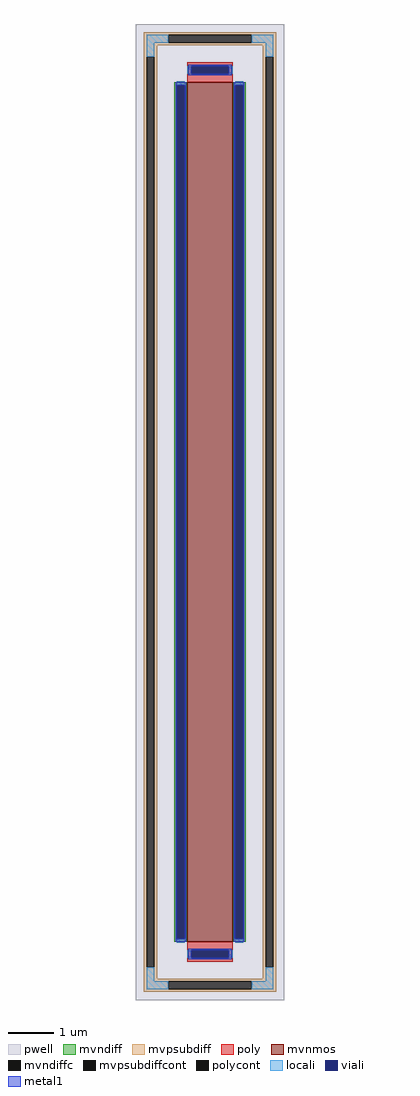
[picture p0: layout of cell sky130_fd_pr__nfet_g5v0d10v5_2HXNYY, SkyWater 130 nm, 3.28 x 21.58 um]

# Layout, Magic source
magic
tech sky130A
<< pwell >>
rect -164 -1079 164 1079
<< mvnmos >>
rect -50 -950 50 950
<< mvndiff >>
rect -79 944 -50 950
rect -79 -944 -73 944
rect -56 -944 -50 944
rect -79 -950 -50 -944
rect 50 944 79 950
rect 50 -944 56 944
rect 73 -944 79 944
rect 50 -950 79 -944
<< mvndiffc >>
rect -73 -944 -56 944
rect 56 -944 73 944
<< mvpsubdiff >>
rect -146 1055 146 1061
rect -146 1038 -92 1055
rect 92 1038 146 1055
rect -146 1032 146 1038
rect -146 1007 -117 1032
rect -146 -1007 -140 1007
rect -123 -1007 -117 1007
rect 117 1007 146 1032
rect -146 -1032 -117 -1007
rect 117 -1007 123 1007
rect 140 -1007 146 1007
rect 117 -1032 146 -1007
rect -146 -1038 146 -1032
rect -146 -1055 -92 -1038
rect 92 -1055 146 -1038
rect -146 -1061 146 -1055
<< mvpsubdiffcont >>
rect -92 1038 92 1055
rect -140 -1007 -123 1007
rect 123 -1007 140 1007
rect -92 -1055 92 -1038
<< poly >>
rect -50 986 50 994
rect -50 969 -42 986
rect 42 969 50 986
rect -50 950 50 969
rect -50 -969 50 -950
rect -50 -986 -42 -969
rect 42 -986 50 -969
rect -50 -994 50 -986
<< polycont >>
rect -42 969 42 986
rect -42 -986 42 -969
<< locali >>
rect -140 1038 -92 1055
rect 92 1038 140 1055
rect -140 1007 -123 1038
rect 123 1007 140 1038
rect -50 969 -42 986
rect 42 969 50 986
rect -73 944 -56 952
rect -73 -952 -56 -944
rect 56 944 73 952
rect 56 -952 73 -944
rect -50 -986 -42 -969
rect 42 -986 50 -969
rect -140 -1038 -123 -1007
rect 123 -1038 140 -1007
rect -140 -1055 -92 -1038
rect 92 -1055 140 -1038
<< viali >>
rect -42 969 42 986
rect -73 -944 -56 944
rect 56 -944 73 944
rect -42 -986 42 -969
<< metal1 >>
rect -48 986 48 989
rect -48 969 -42 986
rect 42 969 48 986
rect -48 966 48 969
rect -76 944 -53 950
rect -76 -944 -73 944
rect -56 -944 -53 944
rect -76 -950 -53 -944
rect 53 944 76 950
rect 53 -944 56 944
rect 73 -944 76 944
rect 53 -950 76 -944
rect -48 -969 48 -966
rect -48 -986 -42 -969
rect 42 -986 48 -969
rect -48 -989 48 -986
<< properties >>
string FIXED_BBOX -131 -1046 131 1046
string gencell sky130_fd_pr__nfet_g5v0d10v5
string library sky130
string parameters w 19.0 l 1.0 m 1 nf 1 diffcov 100 polycov 100 guard 1 glc 1 grc 1 gtc 1 gbc 1 tbcov 100 rlcov 100 topc 1 botc 1 poverlap 0 doverlap 1 lmin 0.50 wmin 0.42 compatible {sky130_fd_pr__nfet_01v8 sky130_fd_pr__nfet_01v8_lvt  sky130_fd_bs_flash__special_sonosfet_star  sky130_fd_pr__nfet_g5v0d10v5 sky130_fd_pr__nfet_05v0_nvt  sky130_fd_pr__nfet_03v3_nvt} full_metal 1 viasrc 100 viadrn 100 viagate 100 viagb 0 viagr 0 viagl 0 viagt 0
<< end >>
